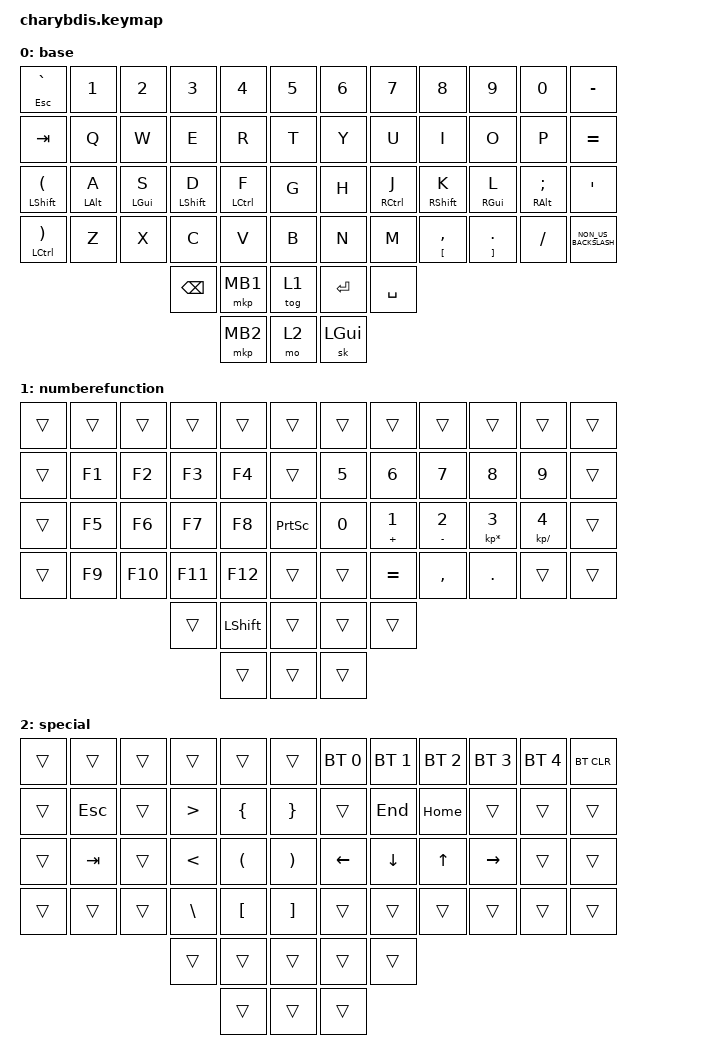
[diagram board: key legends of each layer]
#include <behaviors.dtsi>
#include <dt-bindings/zmk/bt.h>
#include <dt-bindings/zmk/keys.h>
#include <dt-bindings/zmk/pointing.h>

&lt {
    tapping-term-ms = <200>;
    flavor = "balanced";
    quick-tap-ms = <150>;
};

/ {
    combos {
        compatible = "zmk,combos";

        esc {
            bindings = <&kp ESC>;
            key-positions = <16 19>;
            layers = <0>;
        };

        Backward {
            bindings = <&mkp MB4>;
            key-positions = <49 53>;
        };

        delete {
            bindings = <&kp DELETE>;
            key-positions = <38 39 40>;
        };

        Enter {
            bindings = <&kp ENTER>;
            key-positions = <19 20 21>;
        };

        Backspace {
            bindings = <&kp BACKSPACE>;
            key-positions = <14 15 16>;
        };

        MiddleClick {
            bindings = <&mkp MCLK>;
            key-positions = <54 50>;
        };
    };

    behaviors {
        ht: ht {
            compatible = "zmk,behavior-hold-tap";
            label = "HT";
            bindings = <&kp>, <&kp>;

            #binding-cells = <2>;
            tapping-term-ms = <200>;
            flavor = "tap-preferred";
        };
    };

    keymap {
        compatible = "zmk,keymap";

        base {
            bindings = <
&ht ESC GRAVE                    &kp N1          &kp N2          &kp N3            &kp N4       &kp N5    &kp N6        &kp N7       &kp N8                  &kp N9                    &kp N0                   &kp MINUS
&kp TAB                          &kp Q           &kp W           &kp E             &kp R        &kp T     &kp Y         &kp U        &kp I                   &kp O                     &kp P                    &kp EQUAL
&ht LEFT_SHIFT LEFT_PARENTHESIS  &ht LEFT_ALT A  &ht LEFT_GUI S  &ht LEFT_SHIFT D  &ht LCTRL F  &kp G     &kp H         &ht RCTRL J  &ht RIGHT_SHIFT K       &ht RIGHT_GUI L           &ht RIGHT_ALT SEMICOLON  &kp APOS
&ht LCTRL RIGHT_PARENTHESIS      &kp Z           &kp X           &kp C             &kp V        &kp B     &kp N         &kp M        &ht LEFT_BRACKET COMMA  &ht RIGHT_BRACKET PERIOD  &kp SLASH                &kp NON_US_BACKSLASH
                                                                 &kp BACKSPACE     &mkp MB1     &tog 1    &kp ENTER     &kp SPACE
                                                                                   &mkp MB2     &mo 2     &sk LEFT_GUI
            >;
        };

        numberefunction {
            bindings = <
&trans  &trans  &trans   &trans   &trans          &trans             &trans  &trans             &trans              &trans                    &trans                  &trans
&trans  &kp F1  &kp F2   &kp F3   &kp F4          &trans             &kp N5  &kp NUMBER_6       &kp N7              &kp N8                    &kp N9                  &trans
&trans  &kp F5  &kp F6   &kp F7   &kp F8          &kp PRINTSCREEN    &kp N0  &ht PLUS NUMBER_1  &ht MINUS NUMBER_2  &ht KP_MULTIPLY NUMBER_3  &ht KP_DIVIDE NUMBER_4  &trans
&trans  &kp F9  &kp F10  &kp F11  &kp F12         &trans             &trans  &kp EQUAL          &kp COMMA           &kp PERIOD                &trans                  &trans
                         &trans   &kp LEFT_SHIFT  &trans             &trans  &trans
                                  &trans          &trans             &trans
            >;
        };

        special {
            bindings = <
&trans  &trans   &trans  &trans            &trans                &trans                   &bt BT_SEL 0    &bt BT_SEL 1  &bt BT_SEL 2  &bt BT_SEL 3  &bt BT_SEL 4  &bt BT_CLR
&trans  &kp ESC  &trans  &kp GREATER_THAN  &kp LEFT_BRACE        &kp RIGHT_BRACE          &trans          &kp END       &kp HOME      &trans        &trans        &trans
&trans  &kp TAB  &trans  &kp LESS_THAN     &kp LEFT_PARENTHESIS  &kp RIGHT_PARENTHESIS    &kp LEFT_ARROW  &kp DOWN      &kp UP_ARROW  &kp RIGHT     &trans        &trans
&trans  &trans   &trans  &kp BACKSLASH     &kp LEFT_BRACKET      &kp RIGHT_BRACKET        &trans          &trans        &trans        &trans        &trans        &trans
                         &trans            &trans                &trans                   &trans          &trans
                                           &trans                &trans                   &trans
            >;
        };
    };
};
